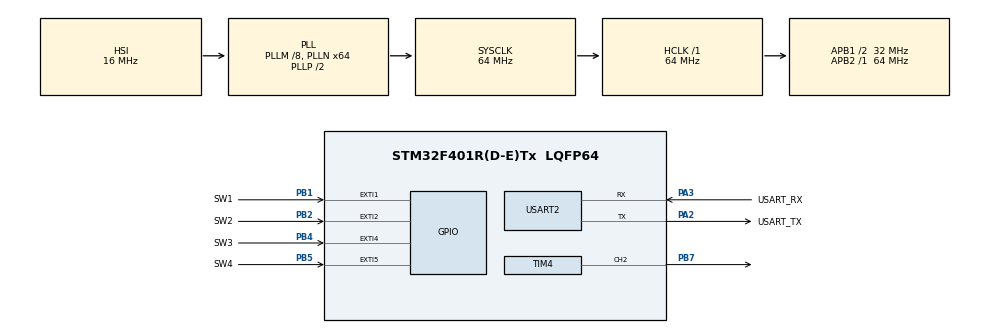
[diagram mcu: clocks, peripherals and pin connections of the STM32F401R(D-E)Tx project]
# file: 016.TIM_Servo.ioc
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Mcu.Family=STM32F4
Mcu.Name=STM32F401R(D-E)Tx
Mcu.Package=LQFP64
NVIC.EXTI1_IRQn=true\:0\:0\:false\:false\:true\:true\:true\:true
NVIC.EXTI2_IRQn=true\:0\:0\:false\:false\:true\:true\:true\:true
NVIC.EXTI4_IRQn=true\:0\:0\:false\:false\:true\:true\:true\:true
NVIC.EXTI9_5_IRQn=true\:0\:0\:false\:false\:true\:true\:true\:true
NVIC.PriorityGroup=NVIC_PRIORITYGROUP_4
PA13.GPIO_Label=TMS
PA13.Mode=Serial_Wire
PA13.Signal=SYS_JTMS-SWDIO
PA14.GPIO_Label=TCK
PA14.Mode=Serial_Wire
PA14.Signal=SYS_JTCK-SWCLK
PA2.GPIO_Label=USART_TX
PA2.GPIO_Mode=GPIO_MODE_AF_PP
PA2.GPIO_PuPd=GPIO_NOPULL
PA2.GPIO_Speed=GPIO_SPEED_FREQ_LOW
PA2.Mode=Asynchronous
PA2.Signal=USART2_TX
PA3.GPIO_Label=USART_RX
PA3.GPIO_Mode=GPIO_MODE_AF_PP
PA3.GPIO_PuPd=GPIO_NOPULL
PA3.GPIO_Speed=GPIO_SPEED_FREQ_LOW
PA3.Mode=Asynchronous
PA3.Signal=USART2_RX
PB1.GPIO_Label=SW1
PB1.Signal=GPXTI1
PB2.GPIO_Label=SW2
PB2.Signal=GPXTI2
PB3.GPIO_Label=SWO
PB3.Signal=SYS_JTDO-SWO
PB4.GPIO_Label=SW3
PB4.Signal=GPXTI4
PB5.GPIO_Label=SW4
PB5.Signal=GPXTI5
PB7.Signal=S_TIM4_CH2
PC14-OSC32_IN.Signal=RCC_OSC32_IN
PC15-OSC32_OUT.Signal=RCC_OSC32_OUT
PH0\ -\ OSC_IN.Signal=RCC_OSC_IN
PH1\ -\ OSC_OUT.Signal=RCC_OSC_OUT
ProjectManager.HeapSize=0x200
ProjectManager.StackSize=0x400
ProjectManager.TargetToolchain=STM32CubeIDE
RCC.48MHZClocksFreq_Value=18285714.285714287
RCC.AHBFreq_Value=64000000
RCC.APB1CLKDivider=RCC_HCLK_DIV2
RCC.APB1Freq_Value=32000000
RCC.APB1TimFreq_Value=64000000
RCC.APB2Freq_Value=64000000
RCC.APB2TimFreq_Value=64000000
RCC.CortexFreq_Value=64000000
RCC.HCLKFreq_Value=64000000
RCC.HSE_VALUE=8000000
RCC.HSI_VALUE=16000000
RCC.PLLM=8
RCC.PLLN=64
RCC.PLLQ=7
RCC.SYSCLKFreq_VALUE=64000000
RCC.SYSCLKSource=RCC_SYSCLKSOURCE_PLLCLK
RCC.VCOOutputFreq_Value=128000000
SH.S_TIM4_CH2.0=TIM4_CH2,PWM Generation2 CH2
TIM4.Channel-PWM\ Generation2\ CH2=TIM_CHANNEL_2
TIM4.OCPolarity_2=TIM_OCPOLARITY_LOW
TIM4.Period=19999
TIM4.Prescaler=63
TIM4.Pulse-PWM\ Generation2\ CH2=1500
USART2.VirtualMode=VM_ASYNC
VP_TIM4_VS_ClockSourceINT.Mode=Internal
board=NUCLEO-F401RE

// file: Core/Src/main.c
/* USER CODE BEGIN Header */
/**
  ******************************************************************************
  * @file           : main.c
  * @brief          : Main program body
  ******************************************************************************
  * @attention
  *
  * Copyright (c) 2025 STMicroelectronics.
  * All rights reserved.
  *
  * This software is licensed under terms that can be found in the LICENSE file
  * in the root directory of this software component.
  * If no LICENSE file comes with this software, it is provided AS-IS.
  *
  ******************************************************************************
  */
/* USER CODE END Header */
#include "main.h"

TIM_HandleTypeDef htim4;

UART_HandleTypeDef huart2;

void SystemClock_Config(void);
static void MX_GPIO_Init(void);
static void MX_USART2_UART_Init(void);
static void MX_TIM4_Init(void);

int main(void)
{

  /* MCU Configuration--------------------------------------------------------*/

  /* Reset of all peripherals, Initializes the Flash interface and the Systick. */
  HAL_Init();

  /* Configure the system clock */
  SystemClock_Config();

  /* Initialize all configured peripherals */
  MX_GPIO_Init();
  MX_USART2_UART_Init();
  MX_TIM4_Init();
  /* USER CODE BEGIN 2 */
  HAL_TIM_PWM_Start(&htim4, TIM_CHANNEL_2);
  /* USER CODE END 2 */

  /* Infinite loop */
  while (1)
  {

  }
}

void SystemClock_Config(void)
{
  RCC_OscInitTypeDef RCC_OscInitStruct = {0};
  RCC_ClkInitTypeDef RCC_ClkInitStruct = {0};

  /** Configure the main internal regulator output voltage
  */
  __HAL_RCC_PWR_CLK_ENABLE();
  __HAL_PWR_VOLTAGESCALING_CONFIG(PWR_REGULATOR_VOLTAGE_SCALE2);

  /** Initializes the RCC Oscillators according to the specified parameters
  * in the RCC_OscInitTypeDef structure.
  */
  RCC_OscInitStruct.OscillatorType = RCC_OSCILLATORTYPE_HSI;
  RCC_OscInitStruct.HSIState = RCC_HSI_ON;
  RCC_OscInitStruct.HSICalibrationValue = RCC_HSICALIBRATION_DEFAULT;
  RCC_OscInitStruct.PLL.PLLState = RCC_PLL_ON;
  RCC_OscInitStruct.PLL.PLLSource = RCC_PLLSOURCE_HSI;
  RCC_OscInitStruct.PLL.PLLM = 8;
  RCC_OscInitStruct.PLL.PLLN = 64;
  RCC_OscInitStruct.PLL.PLLP = RCC_PLLP_DIV2;
  RCC_OscInitStruct.PLL.PLLQ = 7;
  if (HAL_RCC_OscConfig(&RCC_OscInitStruct) != HAL_OK)
  {
    Error_Handler();
  }

  /** Initializes the CPU, AHB and APB buses clocks
  */
  RCC_ClkInitStruct.ClockType = RCC_CLOCKTYPE_HCLK|RCC_CLOCKTYPE_SYSCLK
                              |RCC_CLOCKTYPE_PCLK1|RCC_CLOCKTYPE_PCLK2;
  RCC_ClkInitStruct.SYSCLKSource = RCC_SYSCLKSOURCE_PLLCLK;
  RCC_ClkInitStruct.AHBCLKDivider = RCC_SYSCLK_DIV1;
  RCC_ClkInitStruct.APB1CLKDivider = RCC_HCLK_DIV2;
  RCC_ClkInitStruct.APB2CLKDivider = RCC_HCLK_DIV1;

  if (HAL_RCC_ClockConfig(&RCC_ClkInitStruct, FLASH_LATENCY_2) != HAL_OK)
  {
    Error_Handler();
  }
}

static void MX_TIM4_Init(void)
{

  TIM_ClockConfigTypeDef sClockSourceConfig = {0};
  TIM_MasterConfigTypeDef sMasterConfig = {0};
  TIM_OC_InitTypeDef sConfigOC = {0};

  htim4.Instance = TIM4;
  htim4.Init.Prescaler = 63;
  htim4.Init.CounterMode = TIM_COUNTERMODE_UP;
  htim4.Init.Period = 19999;
  htim4.Init.ClockDivision = TIM_CLOCKDIVISION_DIV1;
  htim4.Init.AutoReloadPreload = TIM_AUTORELOAD_PRELOAD_DISABLE;
  if (HAL_TIM_Base_Init(&htim4) != HAL_OK)
  {
    Error_Handler();
  }
  sClockSourceConfig.ClockSource = TIM_CLOCKSOURCE_INTERNAL;
  if (HAL_TIM_ConfigClockSource(&htim4, &sClockSourceConfig) != HAL_OK)
  {
    Error_Handler();
  }
  if (HAL_TIM_PWM_Init(&htim4) != HAL_OK)
  {
    Error_Handler();
  }
  sMasterConfig.MasterOutputTrigger = TIM_TRGO_RESET;
  sMasterConfig.MasterSlaveMode = TIM_MASTERSLAVEMODE_DISABLE;
  if (HAL_TIMEx_MasterConfigSynchronization(&htim4, &sMasterConfig) != HAL_OK)
  {
    Error_Handler();
  }
  sConfigOC.OCMode = TIM_OCMODE_PWM1;
  sConfigOC.Pulse = 1500;
  sConfigOC.OCPolarity = TIM_OCPOLARITY_LOW;
  sConfigOC.OCFastMode = TIM_OCFAST_DISABLE;
  if (HAL_TIM_PWM_ConfigChannel(&htim4, &sConfigOC, TIM_CHANNEL_2) != HAL_OK)
  {
    Error_Handler();
  }
  HAL_TIM_MspPostInit(&htim4);

}

static void MX_USART2_UART_Init(void)
{

  huart2.Instance = USART2;
  huart2.Init.BaudRate = 115200;
  huart2.Init.WordLength = UART_WORDLENGTH_8B;
  huart2.Init.StopBits = UART_STOPBITS_1;
  huart2.Init.Parity = UART_PARITY_NONE;
  huart2.Init.Mode = UART_MODE_TX_RX;
  huart2.Init.HwFlowCtl = UART_HWCONTROL_NONE;
  huart2.Init.OverSampling = UART_OVERSAMPLING_16;
  if (HAL_UART_Init(&huart2) != HAL_OK)
  {
    Error_Handler();
  }

}

static void MX_GPIO_Init(void)
{
  GPIO_InitTypeDef GPIO_InitStruct = {0};

  /* GPIO Ports Clock Enable */
  __HAL_RCC_GPIOC_CLK_ENABLE();
  __HAL_RCC_GPIOH_CLK_ENABLE();
  __HAL_RCC_GPIOA_CLK_ENABLE();
  __HAL_RCC_GPIOB_CLK_ENABLE();

  /*Configure GPIO pins : SW1_Pin SW2_Pin SW3_Pin SW4_Pin */
  GPIO_InitStruct.Pin = SW1_Pin|SW2_Pin|SW3_Pin|SW4_Pin;
  GPIO_InitStruct.Mode = GPIO_MODE_IT_RISING;
  GPIO_InitStruct.Pull = GPIO_NOPULL;
  HAL_GPIO_Init(GPIOB, &GPIO_InitStruct);

  /* EXTI interrupt init*/
  HAL_NVIC_SetPriority(EXTI1_IRQn, 0, 0);
  HAL_NVIC_EnableIRQ(EXTI1_IRQn);

  HAL_NVIC_SetPriority(EXTI2_IRQn, 0, 0);
  HAL_NVIC_EnableIRQ(EXTI2_IRQn);

  HAL_NVIC_SetPriority(EXTI4_IRQn, 0, 0);
  HAL_NVIC_EnableIRQ(EXTI4_IRQn);

  HAL_NVIC_SetPriority(EXTI9_5_IRQn, 0, 0);
  HAL_NVIC_EnableIRQ(EXTI9_5_IRQn);

}

/* USER CODE BEGIN 4 */
void HAL_GPIO_EXTI_Callback(uint16_t GPIO_Pin)
{
	switch(GPIO_Pin)
	{
		case GPIO_PIN_1 :
			__HAL_TIM_SET_COMPARE(&htim4,TIM_CHANNEL_2, 1000);
			break;
		case GPIO_PIN_2 :
			__HAL_TIM_SET_COMPARE(&htim4, TIM_CHANNEL_2, 1500);
			break;
		case GPIO_PIN_4 :
			__HAL_TIM_SET_COMPARE(&htim4, TIM_CHANNEL_2, 1750);
			break;
		case GPIO_PIN_5 :
			__HAL_TIM_SET_COMPARE(&htim4, TIM_CHANNEL_2, 2000);
			break;

		default :
			break;
	}
}
/* USER CODE END 4 */

void Error_Handler(void)
{
  __disable_irq();
  while (1)
  {
  }
}
